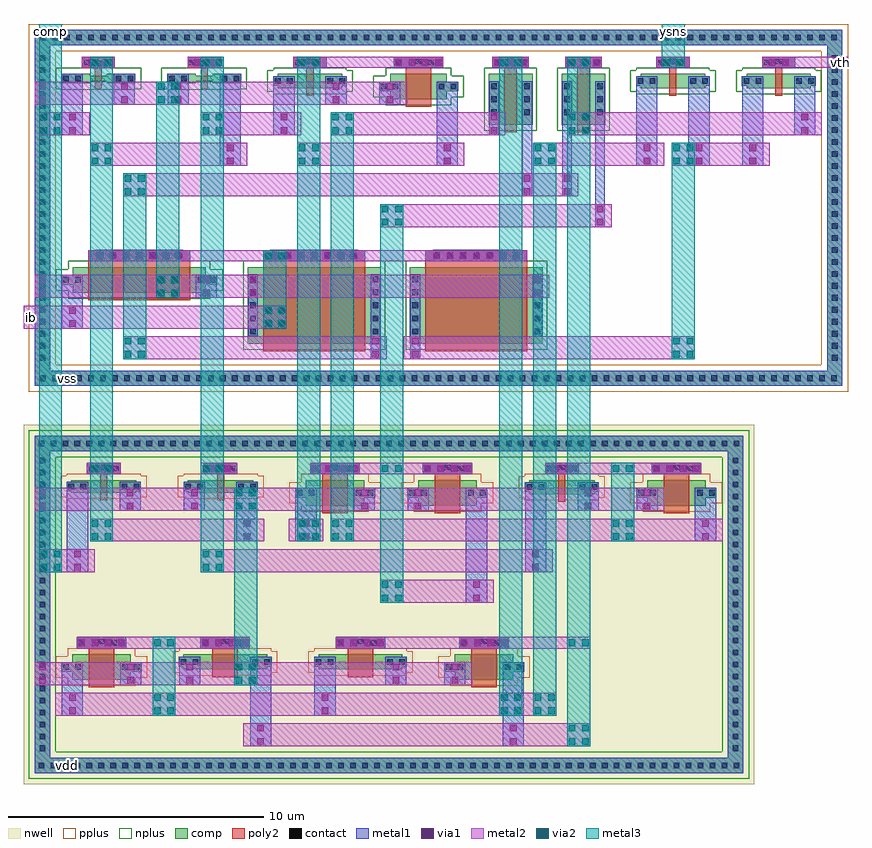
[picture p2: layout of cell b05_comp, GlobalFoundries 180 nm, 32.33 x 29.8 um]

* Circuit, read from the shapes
.subckt b05_comp comp ib vdd vss vth ysns
XM1 vss ib ib vss nfet_03v3 w=1u l=4u
XM2 vss n1 comp vss nfet_03v3 w=0.22u l=0.28u
XM3 n1 n2 vss vss nfet_03v3 w=0.22u l=0.28u
XM4 n3 ib vss vss nfet_03v3 w=3u l=4u
XM5 vss n4 n2 vss nfet_03v3 w=0.56u l=0.28u
XM6 n4 n4 vss vss nfet_03v3 w=1u l=1u
XM7 vss ib n5 vss nfet_03v3 w=3u l=4u
XM8 n3 n6 n7 vss nfet_03v3 w=2u l=0.5u
XM9 n8 n9 n3 vss nfet_03v3 w=2u l=0.5u
XM10 n5 ysns n6 vss nfet_03v3 w=0.56u l=0.28u
XM11 n9 vth n5 vss nfet_03v3 w=0.56u l=0.28u
XM12 vdd n6 n6 vdd pfet_03v3 w=1u l=1u
XM13 vdd n1 comp vdd pfet_03v3 w=0.5u l=0.28u
XM14 n9 n6 vdd vdd pfet_03v3 w=0.6u l=1u
XM15 n1 n2 vdd vdd pfet_03v3 w=0.5u l=0.28u
XM16 vdd n8 n4 vdd pfet_03v3 w=1u l=1u
XM17 vdd n9 n6 vdd pfet_03v3 w=0.6u l=1u
XM18 n8 n8 vdd vdd pfet_03v3 w=1u l=1u
XM19 n9 n9 vdd vdd pfet_03v3 w=1u l=1u
XM20 vdd n7 n2 vdd pfet_03v3 w=0.56u l=0.28u
XM21 n7 n7 vdd vdd pfet_03v3 w=1u l=1u
.ends

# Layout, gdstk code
import gdstk
lib = gdstk.Library(unit=1e-6, precision=1e-09)
def R(c, l, rs):  # rectangles x0, y0, x1, y1
    for r in rs: c.add(gdstk.rectangle(r[:2], r[2:], *l))
def A(c, l, x, y, w, h, nx, ny, dx, dy):  # array of equal rectangles
    R(c, l, [(x+i*dx, y+j*dy, x+i*dx+w, y+j*dy+h) for i in range(nx) for j in range(ny)])
def P(c, l, *ps):  # polygons
    for p in ps: c.add(gdstk.Polygon(p, *l))
nwell = (21, 0)
comp = (22, 0)
poly2 = (30, 0)
pplus = (31, 0)
nplus = (32, 0)
contact = (33, 0)
metal1 = (34, 0)
via1 = (35, 0)
metal2 = (36, 0)
via2 = (38, 0)
metal3 = (42, 0)

nfet_5_2 = lib.new_cell('nfet$5$2')
R(nfet_5_2, comp, [(-0.42,0,1.3,2)])
R(nfet_5_2, poly2, [(0.19,-0.3,0.69,2.66)])
R(nfet_5_2, nplus, [(-0.59,-0.24,1.47,2.24)])
A(nfet_5_2, contact, -0.32, 0.38, 0.22, 0.22, 1, 3, 0, 0.51)
A(nfet_5_2, contact, 0.98, 0.38, 0.22, 0.22, 1, 3, 0, 0.51)
R(nfet_5_2, contact, [(0.33,2.37,0.55,2.59)])
R(nfet_5_2, metal1, [(-0.4,0.3,-0.02,1.7), (0.9,0.3,1.28,1.7), (0.25,2.29,0.63,2.67)])

nfet_4_2 = lib.new_cell('nfet$4$2')
R(nfet_4_2, comp, [(-0.42,0,1.8,1)])
R(nfet_4_2, poly2, [(0.19,-0.3,1.19,1.66)])
R(nfet_4_2, nplus, [(-0.59,-0.24,1.97,1.24)])
R(nfet_4_2, contact, [(-0.32,0.39,-0.1,0.61), (1.48,0.39,1.7,0.61), (0.58,1.37,0.8,1.59)])
R(nfet_4_2, metal1, [(-0.4,0.31,-0.02,0.69), (1.4,0.31,1.78,0.69), (0.5,1.29,0.88,1.67)])

nfet_w1_l1_nf1_2co = lib.new_cell('nfet_W1_L1_nf1_2co')
R(nfet_w1_l1_nf1_2co, comp, [(-0.86,0.31,-0.32,0.69), (1.7,0.31,2.24,0.69)])
R(nfet_w1_l1_nf1_2co, nplus, [(-1.09,0.08,-0.32,0.92), (1.7,0.08,2.47,0.92)])
R(nfet_w1_l1_nf1_2co, contact, [(-0.79,0.39,-0.57,0.61), (1.95,0.39,2.17,0.61)])
R(nfet_w1_l1_nf1_2co, metal1, [(-0.85,0.31,-0.02,0.69), (1.4,0.31,2.23,0.69)])
nfet_w1_l1_nf1_2co.add(gdstk.Reference(nfet_4_2, (0,0)))

nfet_3_3 = lib.new_cell('nfet$3$3')
R(nfet_3_3, comp, [(-0.93,0,1.59,0.56)])
P(nfet_3_3, poly2, [(0.19,-0.3),(0.19,0.86),(0.15,0.86),(0.15,1.22),(0.51,1.22),(0.51,0.86),(0.47,0.86),(0.47,-0.3)])
R(nfet_3_3, nplus, [(-1.1,-0.24,1.76,0.8)])
R(nfet_3_3, contact, [(-0.575,0.17,-0.355,0.39), (1.015,0.17,1.235,0.39), (0.22,0.93,0.44,1.15)])
R(nfet_3_3, metal1, [(-0.655,0.09,-0.275,0.47), (0.935,0.09,1.315,0.47), (0.14,0.85,0.52,1.23)])

nfet_w0p56_l0p28_nf1_2co = lib.new_cell('nfet_W0p56_L0p28_nf1_2co')
R(nfet_w0p56_l0p28_nf1_2co, comp, [(-1.115,0.09,-0.575,0.47), (1.235,0.09,1.775,0.47)])
R(nfet_w0p56_l0p28_nf1_2co, nplus, [(-1.345,-0.14,-0.575,0.7), (1.235,-0.14,2.005,0.7)])
R(nfet_w0p56_l0p28_nf1_2co, contact, [(-1.045,0.17,-0.825,0.39), (1.485,0.17,1.705,0.39)])
R(nfet_w0p56_l0p28_nf1_2co, metal1, [(-1.105,0.09,-0.275,0.47), (0.935,0.09,1.765,0.47)])
nfet_w0p56_l0p28_nf1_2co.add(gdstk.Reference(nfet_3_3, (0,0)))

nfet_3_1 = lib.new_cell('nfet$3$1')
P(nfet_3_1, comp, [(-0.93,-0.08),(-0.93,0.3),(0,0.3),(0,0.22),(0.66,0.22),(0.66,0.3),(1.59,0.3),(1.59,-0.08),(0.66,-0.08),(0.66,0),(0,0),(0,-0.08)])
P(nfet_3_1, poly2, [(0.19,-0.3),(0.19,0.52),(0.15,0.52),(0.15,0.88),(0.51,0.88),(0.51,0.52),(0.47,0.52),(0.47,-0.3)])
R(nfet_3_1, nplus, [(-1.1,-0.32,1.76,0.54)])
R(nfet_3_1, contact, [(-0.575,0,-0.355,0.22), (1.015,0,1.235,0.22), (0.22,0.59,0.44,0.81)])
R(nfet_3_1, metal1, [(-0.655,-0.08,-0.275,0.3), (0.935,-0.08,1.315,0.3), (0.14,0.51,0.52,0.89)])

nfet_w0p22_l0p28_nf1_2co = lib.new_cell('nfet_W0p22_L0p28_nf1_2co')
R(nfet_w0p22_l0p28_nf1_2co, comp, [(-1.115,-0.08,-0.575,0.3), (1.235,-0.08,1.775,0.3)])
R(nfet_w0p22_l0p28_nf1_2co, nplus, [(-1.345,-0.31,-0.575,0.53), (1.235,-0.31,2.005,0.53)])
R(nfet_w0p22_l0p28_nf1_2co, contact, [(-1.045,0,-0.825,0.22), (1.485,0,1.705,0.22)])
R(nfet_w0p22_l0p28_nf1_2co, metal1, [(-1.105,-0.08,-0.275,0.3), (0.935,-0.08,1.765,0.3)])
nfet_w0p22_l0p28_nf1_2co.add(gdstk.Reference(nfet_3_1, (0,0)))

nfet_1_4 = lib.new_cell('nfet$1$4')
R(nfet_1_4, comp, [(-0.42,0,4.8,3)])
R(nfet_1_4, poly2, [(0.19,-0.3,4.19,3.66)])
R(nfet_1_4, nplus, [(-0.59,-0.24,4.97,3.24)])
A(nfet_1_4, contact, -0.32, 0.37, 0.22, 0.22, 1, 5, 0, 0.51)
A(nfet_1_4, contact, 4.48, 0.37, 0.22, 0.22, 1, 5, 0, 0.51)
A(nfet_1_4, contact, 0.55, 3.37, 0.22, 0.22, 7, 1, 0.51, 0)
R(nfet_1_4, metal1, [(-0.4,0.29,-0.02,2.71), (4.4,0.29,4.78,2.71), (0.47,3.29,3.91,3.67)])

nfet_12 = lib.new_cell('nfet$12')
R(nfet_12, comp, [(-0.42,0,4.8,1)])
R(nfet_12, poly2, [(0.19,-0.3,4.19,1.66)])
R(nfet_12, nplus, [(-0.59,-0.24,4.97,1.24)])
A(nfet_12, contact, 0.55, 1.37, 0.22, 0.22, 7, 1, 0.51, 0)
R(nfet_12, contact, [(-0.32,0.39,-0.1,0.61), (4.48,0.39,4.7,0.61)])
R(nfet_12, metal1, [(-0.4,0.31,-0.02,0.69), (4.4,0.31,4.78,0.69), (0.47,1.29,3.91,1.67)])

nfet_w1_l4_nf1_2co = lib.new_cell('nfet_W1_L4_nf1_2co')
R(nfet_w1_l4_nf1_2co, comp, [(-0.86,0.31,-0.32,0.69), (4.7,0.31,5.24,0.69)])
R(nfet_w1_l4_nf1_2co, nplus, [(-1.09,0.08,-0.32,0.92), (4.7,0.08,5.47,0.92)])
R(nfet_w1_l4_nf1_2co, contact, [(-0.79,0.39,-0.57,0.61), (4.95,0.39,5.17,0.61)])
R(nfet_w1_l4_nf1_2co, metal1, [(-0.85,0.31,-0.02,0.69), (4.4,0.31,5.23,0.69)])
nfet_w1_l4_nf1_2co.add(gdstk.Reference(nfet_12, (0,0)))

pfet_3_3 = lib.new_cell('pfet$3$3')
R(pfet_3_3, nwell, [(-1.56,-0.74,2.22,1.68)])
R(pfet_3_3, comp, [(-0.95,0,1.61,0.56)])
P(pfet_3_3, poly2, [(0.19,-0.3),(0.19,0.86),(0.14,0.86),(0.14,1.24),(0.52,1.24),(0.52,0.86),(0.47,0.86),(0.47,-0.3)])
R(pfet_3_3, pplus, [(-1.12,-0.24,1.78,0.8)])
R(pfet_3_3, contact, [(-0.585,0.17,-0.365,0.39), (1.025,0.17,1.245,0.39), (0.22,0.94,0.44,1.16)])
R(pfet_3_3, metal1, [(-0.665,0.09,-0.285,0.47), (0.945,0.09,1.325,0.47), (0.14,0.86,0.52,1.24)])

pfet_w0p56_l0p28_nf1_2co = lib.new_cell('pfet_W0p56_L0p28_nf1_2co')
R(pfet_w0p56_l0p28_nf1_2co, comp, [(-1.125,0.09,-0.585,0.47), (1.245,0.09,1.785,0.47)])
R(pfet_w0p56_l0p28_nf1_2co, pplus, [(-1.355,-0.14,-0.585,0.7), (1.245,-0.14,2.015,0.7)])
R(pfet_w0p56_l0p28_nf1_2co, contact, [(-1.055,0.17,-0.835,0.39), (1.495,0.17,1.715,0.39)])
R(pfet_w0p56_l0p28_nf1_2co, metal1, [(-1.115,0.09,-0.285,0.47), (0.945,0.09,1.775,0.47)])
pfet_w0p56_l0p28_nf1_2co.add(gdstk.Reference(pfet_3_3, (0,0)))

pfet_8_1 = lib.new_cell('pfet$8$1')
R(pfet_8_1, nwell, [(-1.56,-0.74,2.22,1.62)])
R(pfet_8_1, comp, [(-0.95,0,1.61,0.5)])
P(pfet_8_1, poly2, [(0.19,-0.3),(0.19,0.8),(0.14,0.8),(0.14,1.18),(0.52,1.18),(0.52,0.8),(0.47,0.8),(0.47,-0.3)])
R(pfet_8_1, pplus, [(-1.12,-0.24,1.78,0.74)])
R(pfet_8_1, contact, [(-0.585,0.14,-0.365,0.36), (1.025,0.14,1.245,0.36), (0.22,0.88,0.44,1.1)])
R(pfet_8_1, metal1, [(-0.665,0.06,-0.285,0.44), (0.945,0.06,1.325,0.44), (0.14,0.8,0.52,1.18)])

pfet_w0p5_l0p28_nf1_2co = lib.new_cell('pfet_W0p5_L0p28_nf1_2co')
R(pfet_w0p5_l0p28_nf1_2co, comp, [(-1.125,0.06,-0.585,0.44), (1.245,0.06,1.785,0.44)])
R(pfet_w0p5_l0p28_nf1_2co, pplus, [(-1.355,-0.17,-0.585,0.67), (1.245,-0.17,2.015,0.67)])
R(pfet_w0p5_l0p28_nf1_2co, contact, [(-1.055,0.14,-0.835,0.36), (1.495,0.14,1.715,0.36)])
R(pfet_w0p5_l0p28_nf1_2co, metal1, [(-1.115,0.06,-0.285,0.44), (0.945,0.06,1.775,0.44)])
pfet_w0p5_l0p28_nf1_2co.add(gdstk.Reference(pfet_8_1, (0,0)))

pfet_1_4 = lib.new_cell('pfet$1$4')
R(pfet_1_4, nwell, [(-1.56,-0.74,2.94,1.72)])
R(pfet_1_4, comp, [(-0.95,0,2.33,0.6)])
R(pfet_1_4, poly2, [(0.19,-0.3,1.19,1.28)])
R(pfet_1_4, pplus, [(-1.12,-0.24,2.5,0.84)])
R(pfet_1_4, contact, [(-0.585,0.19,-0.365,0.41), (1.745,0.19,1.965,0.41), (0.58,0.98,0.8,1.2)])
R(pfet_1_4, metal1, [(-0.665,0.11,-0.285,0.49), (1.665,0.11,2.045,0.49), (0.5,0.9,0.88,1.28)])

pfet_w0p6_l1_nf1_2co = lib.new_cell('pfet_W0p6_L1_nf1_2co')
R(pfet_w0p6_l1_nf1_2co, comp, [(-1.125,0.11,-0.585,0.49), (1.965,0.11,2.505,0.49)])
R(pfet_w0p6_l1_nf1_2co, pplus, [(-1.355,-0.12,-0.585,0.72), (1.965,-0.12,2.735,0.72)])
R(pfet_w0p6_l1_nf1_2co, contact, [(-1.055,0.19,-0.835,0.41), (2.215,0.19,2.435,0.41)])
R(pfet_w0p6_l1_nf1_2co, metal1, [(-1.115,0.11,-0.285,0.49), (1.665,0.11,2.495,0.49)])
pfet_w0p6_l1_nf1_2co.add(gdstk.Reference(pfet_1_4, (0,0)))

pfet_17 = lib.new_cell('pfet$17')
R(pfet_17, nwell, [(-1.07,-0.74,2.45,2.12)])
R(pfet_17, comp, [(-0.46,0,1.84,1)])
R(pfet_17, poly2, [(0.19,-0.3,1.19,1.68)])
R(pfet_17, pplus, [(-0.63,-0.24,2.01,1.24)])
R(pfet_17, contact, [(-0.34,0.39,-0.12,0.61), (1.5,0.39,1.72,0.61), (0.58,1.38,0.8,1.6)])
R(pfet_17, metal1, [(-0.42,0.31,-0.04,0.69), (1.42,0.31,1.8,0.69), (0.5,1.3,0.88,1.68)])

pfet_w1_l1_nf1_2co = lib.new_cell('pfet_W1_L1_nf1_2co')
R(pfet_w1_l1_nf1_2co, comp, [(-0.88,0.31,-0.34,0.69), (1.72,0.31,2.26,0.69)])
R(pfet_w1_l1_nf1_2co, pplus, [(-1.11,0.08,-0.34,0.92), (1.72,0.08,2.49,0.92)])
R(pfet_w1_l1_nf1_2co, contact, [(-0.81,0.39,-0.59,0.61), (1.97,0.39,2.19,0.61)])
R(pfet_w1_l1_nf1_2co, metal1, [(-0.87,0.31,-0.04,0.69), (1.42,0.31,2.25,0.69)])
pfet_w1_l1_nf1_2co.add(gdstk.Reference(pfet_17, (0,0)))

b05_comp = lib.new_cell('b05_comp')
R(b05_comp, nwell, [(0,0,28.64,14.08)])
R(b05_comp, comp, [(0.43,0.43,28.21,1.03), (0.43,1.03,1.03,13.05), (27.61,1.03,28.21,13.05), (0.43,13.05,28.21,13.65), (0.43,15.61,32.1,16.21), (0.43,16.21,1.03,28.97), (31.5,16.21,32.1,28.97), (0.43,28.97,32.1,29.57)])
A(b05_comp, poly2, 2.275, 28.07, 1.3, 0.44, 3, 1, 4.15, 0)
R(b05_comp, poly2, [(2.08,5.31,4.02,5.77), (6.93,5.31,8.87,5.77), (12.23,5.31,14.17,5.77), (17.08,5.31,19.02,5.77), (2.48,12.14,3.8,12.6), (7.06,12.14,8.38,12.6), (11.24,12.14,13.18,12.6), (15.64,12.14,17.58,12.6), (20.44,12.14,21.76,12.6), (24.62,12.14,26.56,12.6), (2.53,20.49,6.53,20.93), (9.39,20.49,13.39,20.93), (15.75,20.49,19.75,20.93), (14.51,28.07,16.45,28.51), (18.37,28.07,19.81,28.51), (21.23,28.07,22.67,28.51), (24.805,28.07,26.105,28.51), (28.955,28.07,30.255,28.51)])
R(b05_comp, pplus, [(0.2,15.38,32.33,16.44), (0.2,16.44,1.26,28.74), (31.27,16.44,32.33,28.74), (0.2,28.74,32.33,29.8)])
R(b05_comp, nplus, [(0.2,0.2,28.44,1.26), (0.2,1.26,1.26,12.82), (27.38,1.26,28.44,12.82), (0.2,12.82,28.44,13.88)])
A(b05_comp, contact, 0.58, 0.62, 0.22, 0.22, 59, 2, 0.47, 12.62)
A(b05_comp, contact, 0.62, 1.29, 0.22, 0.22, 1, 25, 0, 0.47)
A(b05_comp, contact, 27.8, 1.29, 0.22, 0.22, 1, 25, 0, 0.47)
A(b05_comp, contact, 0.645, 15.8, 0.22, 0.22, 67, 2, 0.47, 13.36)
A(b05_comp, contact, 0.62, 16.605, 0.22, 0.22, 1, 26, 0, 0.47)
A(b05_comp, contact, 31.69, 16.605, 0.22, 0.22, 1, 26, 0, 0.47)
A(b05_comp, contact, 2.345, 28.18, 0.22, 0.22, 3, 1, 4.15, 0)
R(b05_comp, contact, [(2.15,5.43,2.37,5.65), (3.45,5.43,3.67,5.65), (7,5.43,7.22,5.65), (8.3,5.43,8.52,5.65), (12.3,5.43,12.52,5.65), (13.6,5.43,13.82,5.65), (17.15,5.43,17.37,5.65), (18.45,5.43,18.67,5.65), (2.55,12.26,2.77,12.48), (3.5,12.26,3.72,12.48), (7.13,12.26,7.35,12.48), (8.08,12.26,8.3,12.48), (11.31,12.26,11.53,12.48), (12.61,12.26,12.83,12.48), (15.71,12.26,15.93,12.48), (17.01,12.26,17.23,12.48), (20.51,12.26,20.73,12.48), (21.46,12.26,21.68,12.48), (24.69,12.26,24.91,12.48), (25.99,12.26,26.21,12.48), (14.58,28.18,14.8,28.4), (15.88,28.18,16.1,28.4), (18.44,28.18,18.66,28.4), (19.49,28.18,19.71,28.4), (21.3,28.18,21.52,28.4), (22.35,28.18,22.57,28.4), (24.875,28.18,25.095,28.4), (29.025,28.18,29.245,28.4)])
R(b05_comp, metal1, [(0.43,0.43,28.21,1.03), (1.43,0.43,2.03,1.03), (0.43,1.03,1.03,13.05), (27.61,1.03,28.21,13.05), (8.875,1.48,9.705,4.7), (18.78,1.48,19.61,4.5), (1.49,2.68,2.32,4.5), (11.395,2.68,12.225,4.7), (3.78,3.88,4.61,4.5), (6.095,3.88,6.925,4.7), (14.175,3.88,15.005,4.7), (16.49,3.88,17.32,4.5), (2.08,5.31,4.02,5.77), (6.93,5.31,8.87,5.77), (12.23,5.31,14.17,5.77), (17.08,5.31,19.02,5.77), (17.34,7.11,18.17,11.33), (1.695,8.31,2.525,11.58), (19.655,8.31,20.485,11.55), (8.335,9.51,9.165,11.58), (10.65,9.51,11.48,11.33), (26.32,9.51,27.15,11.33), (3.755,10.71,4.585,11.58), (6.275,10.71,7.105,11.58), (12.94,10.71,13.77,11.33), (15.05,10.71,15.88,11.33), (21.715,10.71,22.545,11.55), (24.03,10.71,24.86,11.33), (2.48,12.14,3.8,12.6), (7.06,12.14,8.38,12.6), (11.24,12.14,13.18,12.6), (15.64,12.14,17.58,12.6), (20.44,12.14,21.76,12.6), (24.62,12.14,26.56,12.6), (0.43,13.05,28.21,13.65), (0.43,15.61,32.1,16.21), (1.43,15.61,2.03,16.21), (0.43,16.21,1.03,28.97), (31.5,16.21,32.1,28.97), (13.6,16.66,13.98,17.66), (15.16,16.66,15.54,17.66), (1.49,17.86,2.32,19.68), (6.74,19.06,7.57,19.68), (2.53,20.49,6.53,20.93), (9.39,20.49,13.39,20.93), (15.75,20.49,19.75,20.93), (22.41,21.84,22.79,26.25), (19.55,23.04,19.93,26.25), (21.11,23.04,21.49,26.25), (7.68,24.24,8.51,27.57), (16.19,24.24,17.02,27.26), (24.02,24.24,24.85,27.48), (26.06,24.24,26.89,27.48), (28.17,24.24,29,27.48), (1.49,25.44,2.32,27.57), (9.79,25.44,10.62,27.48), (18.25,25.44,18.63,26.25), (30.21,25.44,31.04,27.48), (3.53,26.64,4.36,27.57), (5.64,26.64,6.47,27.57), (11.83,26.64,12.66,27.48), (13.94,26.64,14.77,27.26), (10.575,28.07,11.875,28.51), (14.51,28.07,16.45,28.51), (18.37,28.07,19.81,28.51), (21.23,28.07,22.67,28.51), (24.805,28.07,26.105,28.51), (28.955,28.07,30.255,28.51), (2.275,28.08,3.575,28.51), (6.425,28.08,7.725,28.51), (0.43,28.97,32.1,29.57)])
A(b05_comp, via1, 2.14, 5.41, 0.26, 0.26, 4, 1, 0.52, 0)
A(b05_comp, via1, 6.99, 5.41, 0.26, 0.26, 4, 1, 0.52, 0)
A(b05_comp, via1, 12.29, 5.41, 0.26, 0.26, 4, 1, 0.52, 0)
A(b05_comp, via1, 17.14, 5.41, 0.26, 0.26, 4, 1, 0.52, 0)
A(b05_comp, via1, 11.3, 12.24, 0.26, 0.26, 4, 1, 0.52, 0)
A(b05_comp, via1, 15.7, 12.24, 0.26, 0.26, 4, 1, 0.52, 0)
A(b05_comp, via1, 24.68, 12.24, 0.26, 0.26, 4, 1, 0.52, 0)
A(b05_comp, via1, 2.84, 20.58, 0.26, 0.26, 7, 1, 0.52, 0)
A(b05_comp, via1, 9.7, 20.58, 0.26, 0.26, 7, 1, 0.52, 0)
A(b05_comp, via1, 16.06, 20.58, 0.26, 0.26, 7, 1, 0.52, 0)
A(b05_comp, via1, 14.57, 28.165, 0.26, 0.26, 4, 1, 0.52, 0)
A(b05_comp, via1, 18.44, 28.165, 0.26, 0.26, 3, 1, 0.52, 0)
A(b05_comp, via1, 21.3, 28.165, 0.26, 0.26, 3, 1, 0.52, 0)
R(b05_comp, via1, [(9.16,1.54,9.42,1.8), (19.065,1.54,19.325,1.8), (9.16,2.06,9.42,2.32), (19.065,2.06,19.325,2.32), (1.775,2.74,2.035,3), (11.68,2.74,11.94,3), (1.775,3.26,2.035,3.52), (11.68,3.26,11.94,3.52), (0.6,3.94,0.86,4.2), (4.065,3.94,4.325,4.2), (6.38,3.94,6.64,4.2), (14.46,3.94,14.72,4.2), (16.775,3.94,17.035,4.2), (0.6,4.46,0.86,4.72), (4.065,4.46,4.325,4.72), (6.38,4.46,6.64,4.72), (14.46,4.46,14.72,4.72), (16.775,4.46,17.035,4.72), (17.625,7.17,17.885,7.43), (17.625,7.69,17.885,7.95), (1.98,8.37,2.24,8.63), (19.94,8.37,20.2,8.63), (1.98,8.89,2.24,9.15), (19.94,8.89,20.2,9.15), (8.62,9.57,8.88,9.83), (10.935,9.57,11.195,9.83), (26.605,9.57,26.865,9.83), (8.62,10.09,8.88,10.35), (10.935,10.09,11.195,10.35), (26.605,10.09,26.865,10.35), (0.6,10.77,0.86,11.03), (4.04,10.77,4.3,11.03), (6.56,10.77,6.82,11.03), (13.225,10.77,13.485,11.03), (15.335,10.77,15.595,11.03), (22,10.77,22.26,11.03), (24.315,10.77,24.575,11.03), (0.6,11.29,0.86,11.55), (4.04,11.29,4.3,11.55), (6.56,11.29,6.82,11.55), (13.225,11.29,13.485,11.55), (15.335,11.29,15.595,11.55), (22,11.29,22.26,11.55), (24.315,11.29,24.575,11.55), (2.75,12.24,3.01,12.5), (3.27,12.24,3.53,12.5), (7.33,12.24,7.59,12.5), (7.85,12.24,8.11,12.5), (20.71,12.24,20.97,12.5), (21.23,12.24,21.49,12.5), (13.66,16.72,13.92,16.98), (15.22,16.72,15.48,16.98), (13.66,17.24,13.92,17.5), (15.22,17.24,15.48,17.5), (1.775,17.92,2.035,18.18), (1.775,18.44,2.035,18.7), (0.6,19.12,0.86,19.38), (7.025,19.12,7.285,19.38), (8.86,19.12,9.12,19.38), (20.02,19.12,20.28,19.38), (0.6,19.64,0.86,19.9), (7.025,19.64,7.285,19.9), (8.86,19.64,9.12,19.9), (20.02,19.64,20.28,19.9), (22.47,21.9,22.73,22.16), (22.47,22.42,22.73,22.68), (19.61,23.1,19.87,23.36), (21.17,23.1,21.43,23.36), (19.61,23.62,19.87,23.88), (21.17,23.62,21.43,23.88), (7.965,24.3,8.225,24.56), (16.475,24.3,16.735,24.56), (24.305,24.3,24.565,24.56), (26.345,24.3,26.605,24.56), (28.455,24.3,28.715,24.56), (7.965,24.82,8.225,25.08), (16.475,24.82,16.735,25.08), (24.305,24.82,24.565,25.08), (26.345,24.82,26.605,25.08), (28.455,24.82,28.715,25.08), (1.775,25.5,2.035,25.76), (10.075,25.5,10.335,25.76), (18.31,25.5,18.57,25.76), (30.495,25.5,30.755,25.76), (1.775,26.02,2.035,26.28), (10.075,26.02,10.335,26.28), (18.31,26.02,18.57,26.28), (30.495,26.02,30.755,26.28), (0.6,26.7,0.86,26.96), (3.815,26.7,4.075,26.96), (5.925,26.7,6.185,26.96), (12.115,26.7,12.375,26.96), (14.225,26.7,14.485,26.96), (0.6,27.22,0.86,27.48), (3.815,27.22,4.075,27.48), (5.925,27.22,6.185,27.48), (12.115,27.22,12.375,27.48), (14.225,27.22,14.485,27.48), (2.535,28.165,2.795,28.425), (3.055,28.165,3.315,28.425), (6.685,28.165,6.945,28.425), (7.205,28.165,7.465,28.425), (10.835,28.165,11.095,28.425), (11.355,28.165,11.615,28.425), (25.065,28.165,25.325,28.425), (25.585,28.165,25.845,28.425), (29.215,28.165,29.475,28.425), (29.735,28.165,29.995,28.425)])
R(b05_comp, metal2, [(8.615,1.48,22.21,2.38), (21.31,1.48,22.21,2.38), (1.23,2.68,20.88,3.58), (5.05,2.68,5.95,3.58), (18.65,2.68,19.55,3.58), (19.98,2.68,20.88,3.58), (0.43,3.88,17.58,4.78), (8.25,3.88,9.15,4.78), (2.08,5.31,8.87,5.77), (5.05,5.31,5.95,5.77), (12.23,5.31,22.21,5.77), (21.31,5.31,22.21,5.77), (13.98,7.11,18.43,8.01), (13.98,7.11,14.88,8.01), (0.6,8.31,1.5,9.21), (0.6,8.31,2.785,9.21), (6.95,8.31,7.85,9.21), (6.95,8.31,20.745,9.21), (2.6,9.51,3.5,10.41), (2.6,9.51,9.425,10.41), (10.39,9.51,11.74,10.41), (10.725,9.51,11.625,10.41), (12.04,9.51,12.94,10.41), (12.04,9.51,27.41,10.41), (23.03,9.51,23.93,10.41), (0.43,10.71,25.12,11.61), (8.25,10.71,9.15,11.61), (2.48,12.14,3.8,12.6), (2.6,12.14,3.5,12.6), (6.95,12.14,7.85,12.6), (6.95,12.14,8.38,12.6), (11.24,12.14,17.58,12.6), (13.98,12.14,14.88,12.6), (20.44,12.14,26.56,12.6), (23.03,12.14,23.93,12.6), (3.9,16.66,14.24,17.56), (3.9,16.66,4.8,17.56), (14.9,16.66,26.31,17.56), (25.41,16.66,26.31,17.56), (0,17.86,0.6,18.76), (0,17.86,10.3,18.76), (9.4,17.86,10.3,18.76), (0.43,19.06,20.6,19.96), (5.2,19.06,6.1,19.96), (2.53,20.49,19.75,20.93), (9.4,20.49,10.3,20.93), (13.98,21.84,23.05,22.74), (13.98,21.84,14.88,22.74), (3.9,23.04,21.75,23.94), (3.9,23.04,4.8,23.94), (2.6,24.24,8.77,25.14), (2.6,24.24,3.5,25.14), (10.725,24.24,17.28,25.14), (10.725,24.24,11.625,25.14), (19.98,24.24,25.11,25.14), (19.98,24.24,20.88,25.14), (25.41,24.24,29.26,25.14), (25.41,24.24,26.31,25.14), (0.6,25.44,2.58,26.34), (0.6,25.44,1.5,26.34), (6.95,25.44,7.85,26.34), (6.95,25.44,10.88,26.34), (12.04,25.44,18.89,26.34), (12.04,25.44,12.94,26.34), (21.31,25.44,31.3,26.34), (21.31,25.44,22.21,26.34), (0.43,26.64,15.03,27.54), (5.2,26.64,6.1,27.54), (2.275,28.08,3.575,28.51), (2.6,28.08,3.5,28.51), (6.425,28.08,7.85,28.51), (6.95,28.08,7.85,28.51), (10.575,28.08,16.45,28.51), (10.725,28.08,11.625,28.51), (18.37,28.08,19.81,28.51), (18.65,28.08,19.55,28.51), (21.23,28.08,22.67,28.51), (21.31,28.08,22.21,28.51), (24.805,28.08,26.105,28.51), (25.02,28.08,25.92,28.51), (28.955,28.08,30.255,28.51), (29.755,28.08,32.33,28.51), (31.73,28.08,32.33,28.51)])
R(b05_comp, via2, [(21.37,1.54,21.63,1.8), (21.89,1.54,22.15,1.8), (21.37,2.06,21.63,2.32), (21.89,2.06,22.15,2.32), (5.11,2.74,5.37,3), (5.63,2.74,5.89,3), (18.71,2.74,18.97,3), (19.23,2.74,19.49,3), (20.04,2.74,20.3,3), (20.56,2.74,20.82,3), (5.11,3.26,5.37,3.52), (5.63,3.26,5.89,3.52), (18.71,3.26,18.97,3.52), (19.23,3.26,19.49,3.52), (20.04,3.26,20.3,3.52), (20.56,3.26,20.82,3.52), (8.31,3.94,8.57,4.2), (8.83,3.94,9.09,4.2), (8.31,4.46,8.57,4.72), (8.83,4.46,9.09,4.72), (5.11,5.41,5.37,5.67), (5.63,5.41,5.89,5.67), (21.37,5.41,21.63,5.67), (21.89,5.41,22.15,5.67), (14.04,7.17,14.3,7.43), (14.56,7.17,14.82,7.43), (14.04,7.69,14.3,7.95), (14.56,7.69,14.82,7.95), (0.66,8.37,0.92,8.63), (1.18,8.37,1.44,8.63), (7.01,8.37,7.27,8.63), (7.53,8.37,7.79,8.63), (0.66,8.89,0.92,9.15), (1.18,8.89,1.44,9.15), (7.01,8.89,7.27,9.15), (7.53,8.89,7.79,9.15), (2.66,9.57,2.92,9.83), (3.18,9.57,3.44,9.83), (10.785,9.57,11.045,9.83), (11.305,9.57,11.565,9.83), (12.1,9.57,12.36,9.83), (12.62,9.57,12.88,9.83), (23.09,9.57,23.35,9.83), (23.61,9.57,23.87,9.83), (2.66,10.09,2.92,10.35), (3.18,10.09,3.44,10.35), (10.785,10.09,11.045,10.35), (11.305,10.09,11.565,10.35), (12.1,10.09,12.36,10.35), (12.62,10.09,12.88,10.35), (23.09,10.09,23.35,10.35), (23.61,10.09,23.87,10.35), (8.31,10.77,8.57,11.03), (8.83,10.77,9.09,11.03), (8.31,11.29,8.57,11.55), (8.83,11.29,9.09,11.55), (2.66,12.24,2.92,12.5), (3.18,12.24,3.44,12.5), (7.01,12.24,7.27,12.5), (7.53,12.24,7.79,12.5), (14.04,12.24,14.3,12.5), (14.56,12.24,14.82,12.5), (23.09,12.24,23.35,12.5), (23.61,12.24,23.87,12.5), (3.96,16.72,4.22,16.98), (4.48,16.72,4.74,16.98), (25.47,16.72,25.73,16.98), (25.99,16.72,26.25,16.98), (3.96,17.24,4.22,17.5), (4.48,17.24,4.74,17.5), (25.47,17.24,25.73,17.5), (25.99,17.24,26.25,17.5), (9.46,17.92,9.72,18.18), (9.98,17.92,10.24,18.18), (9.46,18.44,9.72,18.7), (9.98,18.44,10.24,18.7), (5.26,19.12,5.52,19.38), (5.78,19.12,6.04,19.38), (5.26,19.64,5.52,19.9), (5.78,19.64,6.04,19.9), (9.46,20.58,9.72,20.84), (9.98,20.58,10.24,20.84), (14.04,21.9,14.3,22.16), (14.56,21.9,14.82,22.16), (14.04,22.42,14.3,22.68), (14.56,22.42,14.82,22.68), (3.96,23.1,4.22,23.36), (4.48,23.1,4.74,23.36), (3.96,23.62,4.22,23.88), (4.48,23.62,4.74,23.88), (2.66,24.3,2.92,24.56), (3.18,24.3,3.44,24.56), (10.785,24.3,11.045,24.56), (11.305,24.3,11.565,24.56), (20.04,24.3,20.3,24.56), (20.56,24.3,20.82,24.56), (25.47,24.3,25.73,24.56), (25.99,24.3,26.25,24.56), (2.66,24.82,2.92,25.08), (3.18,24.82,3.44,25.08), (10.785,24.82,11.045,25.08), (11.305,24.82,11.565,25.08), (20.04,24.82,20.3,25.08), (20.56,24.82,20.82,25.08), (25.47,24.82,25.73,25.08), (25.99,24.82,26.25,25.08), (0.66,25.5,0.92,25.76), (1.18,25.5,1.44,25.76), (7.01,25.5,7.27,25.76), (7.53,25.5,7.79,25.76), (12.1,25.5,12.36,25.76), (12.62,25.5,12.88,25.76), (21.37,25.5,21.63,25.76), (21.89,25.5,22.15,25.76), (0.66,26.02,0.92,26.28), (1.18,26.02,1.44,26.28), (7.01,26.02,7.27,26.28), (7.53,26.02,7.79,26.28), (12.1,26.02,12.36,26.28), (12.62,26.02,12.88,26.28), (21.37,26.02,21.63,26.28), (21.89,26.02,22.15,26.28), (5.26,26.7,5.52,26.96), (5.78,26.7,6.04,26.96), (5.26,27.22,5.52,27.48), (5.78,27.22,6.04,27.48), (2.66,28.165,2.92,28.425), (3.18,28.165,3.44,28.425), (7.01,28.165,7.27,28.425), (7.53,28.165,7.79,28.425), (10.785,28.165,11.045,28.425), (11.305,28.165,11.565,28.425), (18.71,28.165,18.97,28.425), (19.23,28.165,19.49,28.425), (21.37,28.165,21.63,28.425), (21.89,28.165,22.15,28.425), (25.08,28.165,25.34,28.425), (25.6,28.165,25.86,28.425)])
R(b05_comp, metal3, [(21.31,1.48,22.21,28.51), (5.05,2.68,5.95,5.77), (18.65,2.68,19.55,28.51), (19.98,2.68,20.88,25.14), (8.25,3.88,9.15,11.61), (13.98,7.11,14.88,22.74), (0.6,8.31,1.5,29.8), (6.95,8.31,7.85,28.51), (2.6,9.51,3.5,28.51), (10.725,9.51,11.625,28.51), (12.04,9.51,12.94,26.34), (23.03,9.51,23.93,12.6), (3.9,16.66,4.8,23.94), (25.41,16.66,26.31,25.14), (9.4,17.86,10.3,20.93), (5.2,19.06,6.1,27.54), (25.02,28.08,25.92,29.8), (0.6,29.2,1.5,29.8), (25.02,29.2,25.92,29.8)])
b05_comp.add(gdstk.Reference(nfet_5_2, (18.65,25.85)))
b05_comp.add(gdstk.Reference(nfet_5_2, (21.51,25.85)))
b05_comp.add(gdstk.Reference(nfet_w1_l1_nf1_2co, (14.79,26.85)))
b05_comp.add(gdstk.Reference(nfet_w0p56_l0p28_nf1_2co, (10.895,27.29)))
b05_comp.add(gdstk.Reference(nfet_w0p56_l0p28_nf1_2co, (25.125,27.29)))
b05_comp.add(gdstk.Reference(nfet_w0p56_l0p28_nf1_2co, (29.275,27.29)))
b05_comp.add(gdstk.Reference(nfet_w0p22_l0p28_nf1_2co, (2.595,27.55)))
b05_comp.add(gdstk.Reference(nfet_w0p22_l0p28_nf1_2co, (6.745,27.55)))
b05_comp.add(gdstk.Reference(nfet_1_4, (9.2,17.27)))
b05_comp.add(gdstk.Reference(nfet_1_4, (15.56,17.27)))
b05_comp.add(gdstk.Reference(nfet_w1_l4_nf1_2co, (2.34,19.27)))
b05_comp.add(gdstk.Reference(pfet_w0p56_l0p28_nf1_2co, (20.77,11.36)))
b05_comp.add(gdstk.Reference(pfet_w0p5_l0p28_nf1_2co, (2.81,11.42)))
b05_comp.add(gdstk.Reference(pfet_w0p5_l0p28_nf1_2co, (7.39,11.42)))
b05_comp.add(gdstk.Reference(pfet_w0p6_l1_nf1_2co, (7.21,4.49)))
b05_comp.add(gdstk.Reference(pfet_w0p6_l1_nf1_2co, (12.51,4.49)))
b05_comp.add(gdstk.Reference(pfet_w1_l1_nf1_2co, (2.36,4.09)))
b05_comp.add(gdstk.Reference(pfet_w1_l1_nf1_2co, (17.36,4.09)))
b05_comp.add(gdstk.Reference(pfet_w1_l1_nf1_2co, (11.52,10.92)))
b05_comp.add(gdstk.Reference(pfet_w1_l1_nf1_2co, (15.92,10.92)))
b05_comp.add(gdstk.Reference(pfet_w1_l1_nf1_2co, (24.9,10.92)))
b05_comp.add(gdstk.Label('vss', (1.73,15.91), layer=34, texttype=10))
b05_comp.add(gdstk.Label('vdd', (1.73,0.73), layer=34, texttype=10))
b05_comp.add(gdstk.Label('ysns', (25.47,29.5), layer=42, texttype=10))
b05_comp.add(gdstk.Label('comp', (1.05,29.5), layer=42, texttype=10))
b05_comp.add(gdstk.Label('vth', (32.03,28.295), layer=36, texttype=10))
b05_comp.add(gdstk.Label('ib', (0.3,18.31), layer=36, texttype=10))

lib.write_gds('b05_comp.gds')
